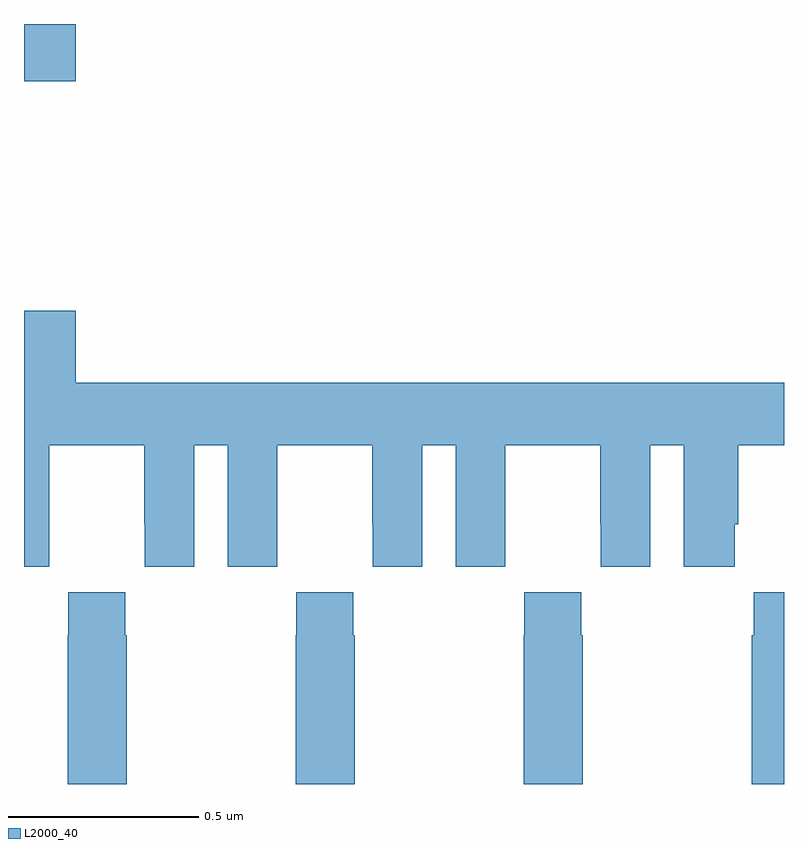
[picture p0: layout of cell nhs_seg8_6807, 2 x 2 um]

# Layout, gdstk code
import gdstk
lib = gdstk.Library(unit=1e-6, precision=1e-09)
def R(c, l, rs):  # rectangles x0, y0, x1, y1
    for r in rs: c.add(gdstk.rectangle(r[:2], r[2:], *l))
def P(c, l, *ps):  # polygons
    for p in ps: c.add(gdstk.Polygon(p, *l))
L2000_40 = (2000, 40)

nhs_seg8_6807 = lib.new_cell('nhs_seg8_6807')
R(nhs_seg8_6807, L2000_40, [(201,1158.75,201.136,1158.9)])
P(nhs_seg8_6807, L2000_40, [(201.136,1158.145),(201,1158.145),(201,1157.472),(201.066,1157.472),(201.066,1157.584),(201.067,1157.584),(201.067,1157.792),(201.317,1157.792),(201.317,1157.584),(201.318,1157.584),(201.318,1157.472),(201.448,1157.472),(201.448,1157.792),(201.536,1157.792),(201.536,1157.472),(201.666,1157.472),(201.666,1157.584),(201.667,1157.584),(201.667,1157.792),(201.917,1157.792),(201.917,1157.584),(201.918,1157.584),(201.918,1157.472),(202.048,1157.472),(202.048,1157.792),(202.136,1157.792),(202.136,1157.472),(202.266,1157.472),(202.266,1157.584),(202.267,1157.584),(202.267,1157.792),(202.517,1157.792),(202.517,1157.584),(202.518,1157.584),(202.518,1157.472),(202.648,1157.472),(202.648,1157.792),(202.736,1157.792),(202.736,1157.472),(202.87,1157.472),(202.87,1157.584),(202.88,1157.584),(202.88,1157.792),(203,1157.792),(203,1157.956),(201.136,1157.956)],
  [(201.27,1157.291),(201.267,1157.291),(201.267,1157.404),(201.117,1157.404),(201.117,1157.291),(201.115,1157.291),(201.115,1156.9),(201.27,1156.9)],
  [(201.87,1157.291),(201.867,1157.291),(201.867,1157.404),(201.717,1157.404),(201.717,1157.291),(201.715,1157.291),(201.715,1156.9),(201.87,1156.9)],
  [(202.47,1157.291),(202.467,1157.291),(202.467,1157.404),(202.317,1157.404),(202.317,1157.291),(202.315,1157.291),(202.315,1156.9),(202.47,1156.9)],
  [(203,1157.404),(202.921,1157.404),(202.921,1157.291),(202.915,1157.291),(202.915,1156.9),(203,1156.9)])

lib.write_gds('nhs_seg8_6807.gds')
